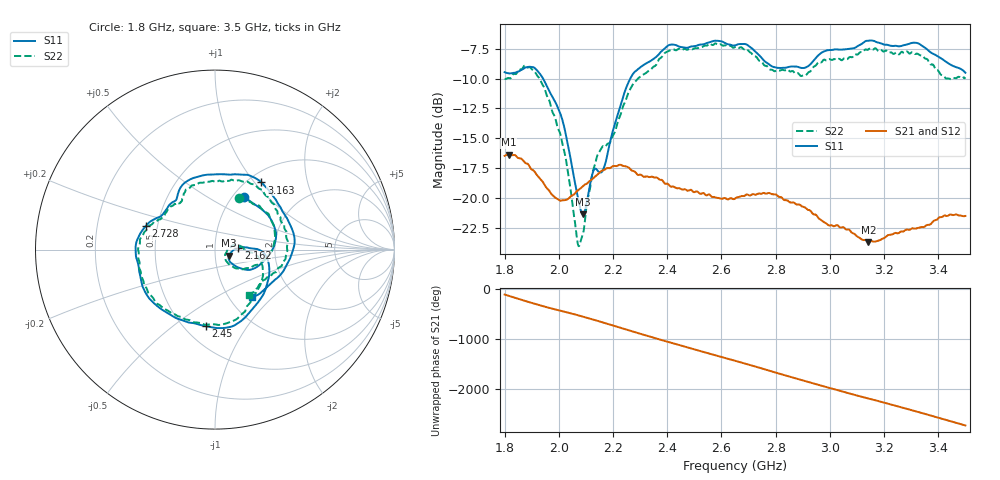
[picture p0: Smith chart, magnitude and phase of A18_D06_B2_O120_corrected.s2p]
! Created with skrf 1.9.0 (http://scikit-rf.org).
# Hz S RI R 50.0
!freq ReS11 ImS11 ReS21 ImS21 ReS12 ImS12 ReS22 ImS22
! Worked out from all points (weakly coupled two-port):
!   1601 points, 1.8 GHz to 3.5 GHz, reference 50 ohm
!   highest |S21| = -16.38 dB at 1.815 GHz (marker M1); lowest = -23.7 dB at 3.142 GHz (marker M2)
!   lowest |S11| = -21.4 dB at 2.089 GHz (marker M3), VSWR 1.19, Z = 58.4 - j3.88 ohm
!   |S11| at or under -10 dB: 1.942 GHz to 2.263 GHz (321.3 MHz wide, 15.3 % of centre)
!   |S22| runs from -24.0 to -7.0 dB; largest |S21 - S12| = 0.0025
!   S11 on the Smith chart (normalised r, x): 1.8 GHz: 1.13, +0.75; 2.162 GHz: 1.30, +0.02; 2.45 GHz: 0.63, -0.66; 2.728 GHz: 0.43, +0.13; 3.163 GHz: 1.15, +1.09; 3.5 GHz: 1.28, -0.75
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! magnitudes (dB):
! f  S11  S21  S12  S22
! 1.8 GHz  -9.5  -16.5  -16.5  -10.0
! 1.815 GHz  -9.6  -16.4  -16.4  -10.0
! 1.88 GHz  -9.0  -17.1  -17.1  -9.0
! 1.942 GHz  -10.0  -18.7  -18.7  -10.6
! 2.013 GHz  -13.4  -20.2  -20.2  -15.4
! 2.068 GHz  -19.7  -19.4  -19.4  -23.5
! 2.084 GHz  -21.2  -19.1  -19.1  -23.4
! 2.089 GHz  -21.4  -19.0  -19.0  -23.0
! 2.128 GHz  -17.7  -18.3  -18.3  -17.5
! 2.162 GHz  -17.7  -17.7  -17.6  -15.7
! 2.26 GHz  -10.1  -17.5  -17.5  -11.0
! 2.367 GHz  -8.0  -18.4  -18.3  -8.5
! 2.45 GHz  -7.3  -19.2  -19.2  -7.6
! 2.65 GHz  -7.2  -20.1  -20.0  -7.4
! 2.728 GHz  -7.8  -19.7  -19.7  -8.2
! 2.802 GHz  -9.1  -19.7  -19.8  -9.3
! 2.934 GHz  -8.6  -21.2  -21.2  -9.2
! 3.142 GHz  -6.8  -23.7  -23.6  -7.6
! 3.163 GHz  -6.8  -23.7  -23.6  -7.5
! 3.217 GHz  -7.2  -23.1  -23.1  -7.8
! 3.324 GHz  -7.0  -22.5  -22.5  -7.9
! 3.5 GHz  -9.5  -21.5  -21.5  -10.0
